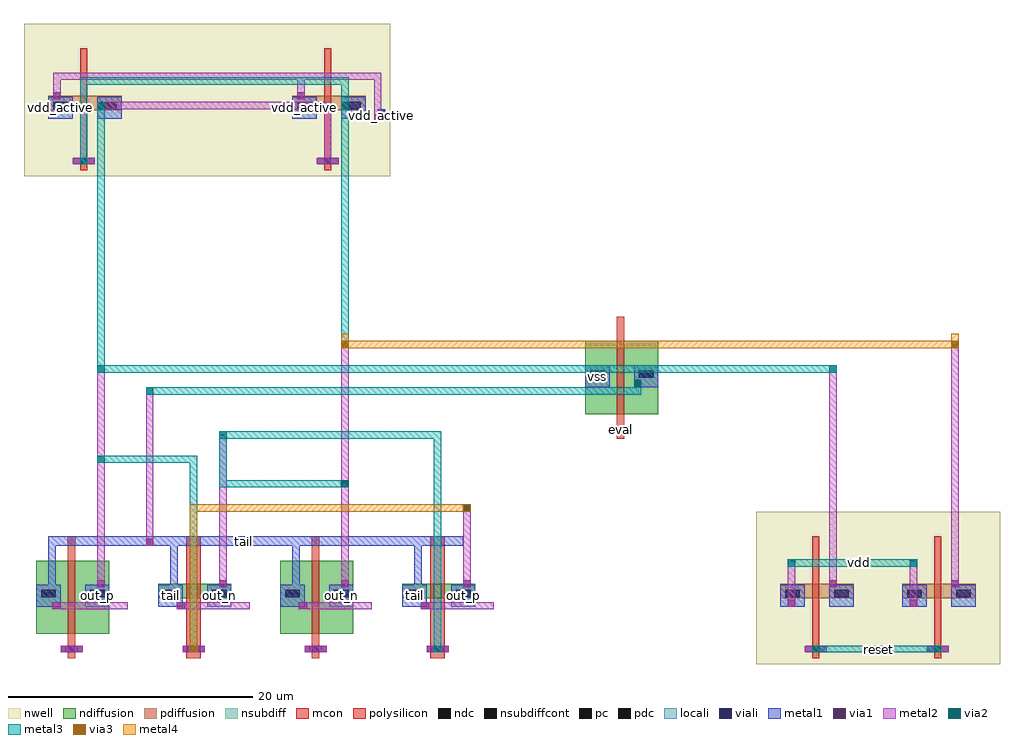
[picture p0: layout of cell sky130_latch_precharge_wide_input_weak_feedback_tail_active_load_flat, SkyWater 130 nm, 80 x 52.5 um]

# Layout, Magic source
magic
tech sky130A
<< nwell >>
rect 6200 150 8200 1400
rect 200 4150 3200 5400
<< pdiffusion >>
rect 6400 690 7000 810
rect 7400 690 8000 810
rect 400 4690 1000 4810
rect 2400 4690 3000 4810
<< ndiffusion >>
rect 300 400 900 1000
rect 1300 690 1900 810
rect 2300 400 2900 1000
rect 3300 690 3900 810
rect 4800 2200 5400 2800
<< nsubdiff >>
rect 3100 4600 3160 4700
<< nsubdiffcont >>
rect 3100 4600 3160 4700
<< polysilicon >>
rect 560 200 620 1200
rect 1530 200 1650 1200
rect 2560 200 2620 1200
rect 3530 200 3650 1200
rect 6660 200 6720 1200
rect 7660 200 7720 1200
rect 5060 2000 5120 3000
rect 660 4200 720 5200
rect 2660 4200 2720 5200
<< pdc >>
rect 6440 700 6560 760
rect 6840 700 6960 760
rect 7440 700 7560 760
rect 7840 700 7960 760
rect 440 4700 560 4760
rect 840 4700 960 4760
rect 2440 4700 2560 4760
rect 2840 4700 2960 4760
<< ndc >>
rect 340 700 460 760
rect 740 700 860 760
rect 1340 700 1460 760
rect 1740 700 1860 760
rect 2340 700 2460 760
rect 2740 700 2860 760
rect 3340 700 3460 760
rect 3740 700 3860 760
rect 4840 2500 4960 2560
rect 5240 2500 5360 2560
<< pc >>
rect 560 250 620 300
rect 1560 250 1620 300
rect 2560 250 2620 300
rect 3560 250 3620 300
rect 6660 250 6720 300
rect 7660 250 7720 300
rect 5060 2050 5120 2100
rect 660 4250 720 4300
rect 2660 4250 2720 4300
<< locali >>
rect 560 250 620 300
rect 1560 250 1620 300
rect 2560 250 2620 300
rect 3560 250 3620 300
rect 6660 250 6720 300
rect 7660 250 7720 300
rect 5060 2050 5120 2100
rect 3100 4600 3160 4700
rect 660 4250 720 4300
rect 2660 4250 2720 4300
<< mcon >>
rect 560 250 620 300
rect 1560 250 1620 300
rect 2560 250 2620 300
rect 3560 250 3620 300
rect 340 700 460 760
rect 740 700 860 760
rect 1340 700 1460 760
rect 1740 700 1860 760
rect 2340 700 2460 760
rect 2740 700 2860 760
rect 3340 700 3460 760
rect 3740 700 3860 760
rect 6440 700 6560 760
rect 6840 700 6960 760
rect 7440 700 7560 760
rect 7840 700 7960 760
rect 6660 250 6720 300
rect 7660 250 7720 300
rect 4840 2500 4960 2560
rect 5240 2500 5360 2560
rect 5060 2050 5120 2100
rect 440 4700 560 4760
rect 840 4700 960 4760
rect 2440 4700 2560 4760
rect 2840 4700 2960 4760
rect 660 4250 720 4300
rect 2660 4250 2720 4300
<< viali >>
rect 3100 4600 3160 4700
<< metal1 >>
rect 540 250 640 300
rect 1540 250 1640 300
rect 2540 250 2640 300
rect 3540 250 3640 300
rect 300 620 500 800
rect 700 620 900 800
rect 1300 620 1500 800
rect 1700 620 1900 800
rect 2300 620 2500 800
rect 2700 620 2900 800
rect 3300 620 3500 800
rect 3700 620 3900 800
rect 400 1120 3800 1200
rect 400 760 460 1160
rect 1400 760 1460 1160
rect 2400 760 2460 1160
rect 3400 760 3460 1160
rect 6400 620 6600 800
rect 6800 620 7000 800
rect 7400 620 7600 800
rect 7800 620 8000 800
rect 6660 250 6720 300
rect 7660 250 7720 300
rect 6400 620 6600 680
rect 7400 620 7600 680
rect 4800 2420 5000 2600
rect 5200 2420 5400 2600
rect 5060 2050 5120 2100
rect 3100 4600 3160 4700
rect 400 4620 600 4800
rect 800 4620 1000 4800
rect 2400 4620 2600 4800
rect 2800 4620 3000 4800
rect 660 4250 720 4300
rect 2660 4250 2720 4300
rect 400 4620 600 4680
rect 2400 4620 2600 4680
<< metal2 >>
rect 500 250 680 300
rect 1500 250 1680 300
rect 2500 250 2680 300
rect 3500 250 3680 300
rect 430 600 1050 660
rect 1450 600 2050 660
rect 2450 600 3050 660
rect 3450 600 4050 660
rect 800 780 860 1830
rect 1800 780 1860 2030
rect 2800 780 2860 1630
rect 3800 780 3860 1430
rect 6600 250 6780 300
rect 7600 250 7780 300
rect 6460 620 6520 1000
rect 7460 620 7520 1000
rect 6800 780 6860 2600
rect 800 780 860 2600
rect 7800 780 7860 2800
rect 2800 780 2860 2800
rect 5000 2050 5180 2100
rect 1200 1120 1260 2420
rect 5200 2420 5260 2480
rect 600 4250 780 4300
rect 2600 4250 2780 4300
rect 800 4700 860 4760
rect 800 4700 2720 4760
rect 2660 4250 2720 4760
rect 2800 4700 2860 4760
rect 440 4780 500 5000
rect 2440 4780 2500 5000
rect 440 4940 3100 5000
rect 3070 4600 3130 5000
<< metal3 >>
rect 1560 250 1620 1860
rect 3560 250 3620 2060
rect 800 1800 1560 1860
rect 1800 2000 3560 2060
rect 1800 1600 2800 1660
rect 1800 1600 1860 2060
rect 6460 950 7520 1010
rect 800 2540 860 2600
rect 800 2540 6800 2600
rect 6800 2540 6860 2600
rect 2800 2740 2860 2860
rect 6660 250 7720 300
rect 1200 2360 1260 2420
rect 1200 2360 5260 2420
rect 660 4900 2860 4960
rect 660 4250 720 4960
rect 2800 4700 2860 4960
rect 800 2600 860 4760
rect 2800 2860 2860 4760
<< metal4 >>
rect 1560 250 1620 1460
rect 1560 1400 3800 1460
rect 2800 2740 2860 2860
rect 2800 2740 7800 2800
rect 7800 2740 7860 2860
<< via1 >>
rect 500 250 680 300
rect 1500 250 1680 300
rect 2500 250 2680 300
rect 3500 250 3680 300
rect 430 600 500 660
rect 1450 600 1520 660
rect 2450 600 2520 660
rect 3450 600 3520 660
rect 800 780 860 840
rect 1800 780 1860 840
rect 2800 780 2860 840
rect 3800 780 3860 840
rect 6600 250 6780 300
rect 7600 250 7780 300
rect 6460 620 6520 680
rect 7460 620 7520 680
rect 6800 780 6860 840
rect 800 780 860 840
rect 7800 780 7860 840
rect 2800 780 2860 840
rect 5000 2050 5180 2100
rect 1200 1120 1260 1180
rect 5200 2420 5260 2480
rect 600 4250 780 4300
rect 2600 4250 2780 4300
rect 800 4700 860 4760
rect 2800 4700 2860 4760
rect 440 4780 500 4840
rect 2440 4780 2500 4840
rect 3070 4600 3130 4660
<< via2 >>
rect 1560 250 1620 300
rect 3560 250 3620 300
rect 800 1800 860 1860
rect 1800 2000 1860 2060
rect 2800 1600 2860 1660
rect 3800 1400 3860 1460
rect 6460 950 6520 1010
rect 7460 950 7520 1010
rect 6800 2540 6860 2600
rect 800 2540 860 2600
rect 7800 2740 7860 2800
rect 2800 2740 2860 2800
rect 6660 250 6720 300
rect 7660 250 7720 300
rect 1200 2360 1260 2420
rect 5200 2420 5260 2480
rect 660 4250 720 4300
rect 2800 4700 2860 4760
rect 800 2540 860 2600
rect 2800 2740 2860 2800
rect 800 4700 860 4760
rect 2800 4700 2860 4760
<< via3 >>
rect 1560 250 1620 300
rect 3800 1400 3860 1460
rect 2800 2740 2860 2800
rect 7800 2740 7860 2800
<< labels >>
rlabel metal1 1800 1120 2200 1200 0 tail
port 9 nsew
rlabel metal1 700 620 900 800 0 out_p
port 1 nsew
rlabel metal1 1300 620 1500 800 0 tail
port 2 nsew
rlabel metal1 2700 620 2900 800 0 out_n
port 3 nsew
rlabel metal1 3300 620 3500 800 0 tail
port 4 nsew
rlabel metal1 1700 620 1900 800 0 out_n
port 10 nsew
rlabel metal1 3700 620 3900 800 0 out_p
port 11 nsew
rlabel polysilicon 560 300 620 1200 0 sense_p
port 5 nsew
rlabel polysilicon 1530 300 1650 1200 0 out_p
port 6 nsew
rlabel polysilicon 2560 300 2620 1200 0 sense_n
port 7 nsew
rlabel polysilicon 3530 300 3650 1200 0 out_n
port 8 nsew
rlabel metal3 7000 250 7400 300 0 reset
port 20 nsew
rlabel metal3 6900 950 7200 1010 0 vdd
port 21 nsew
rlabel metal1 4800 2420 5000 2600 0 vss
port 30 nsew
rlabel metal2 5000 2050 5180 2100 0 eval
port 31 nsew
rlabel metal1 400 4620 600 4800 0 vdd_active
rlabel metal1 2400 4620 2600 4800 0 vdd_active
rlabel metal1 3100 4600 3160 4700 0 vdd_active
<< end >>
